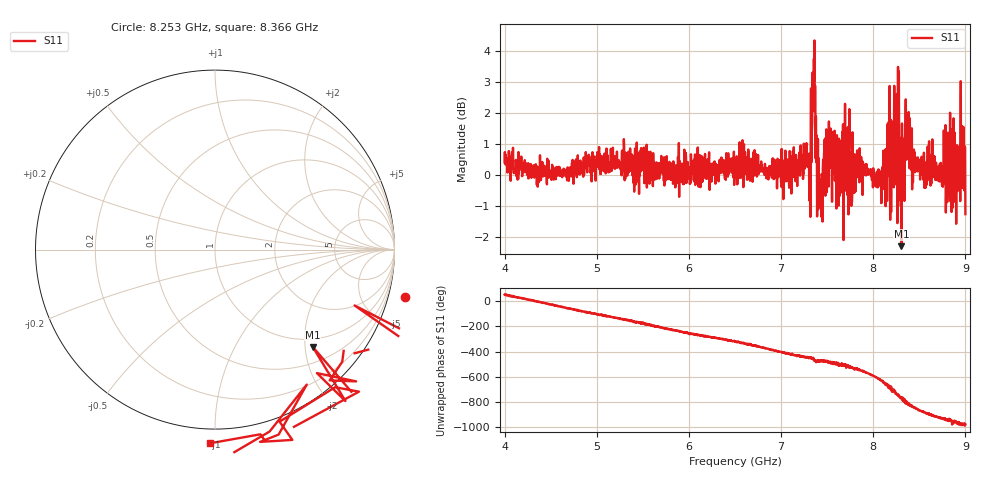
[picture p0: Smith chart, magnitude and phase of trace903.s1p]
! Created with skrf 1.8.0 (http://scikit-rf.org).
# Hz S RI R 50.0
!freq ReS11 ImS11
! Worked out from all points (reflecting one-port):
!   1601 points, 4 GHz to 9 GHz, reference 50 ohm
!   lowest |S11| = -2.3 dB at 8.306 GHz (marker M1), VSWR 7.66, Z = 40.8 - j108 ohm
!   phase of S11 starts at 52 deg and turns -1032 deg over the sweep
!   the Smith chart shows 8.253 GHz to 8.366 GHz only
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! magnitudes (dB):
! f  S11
! 4 GHz  0.4
! 4.625 GHz  -0.1
! 5.25 GHz  0.3
! 5.875 GHz  0.1
! 6.5 GHz  -0.1
! 7.125 GHz  0.2
! 7.294 GHz  0.5
! 7.312 GHz  0.5
! 7.347 GHz  3.1
! 7.362 GHz  4.3
! 7.397 GHz  -1.0
! 7.416 GHz  -1.0
! 7.525 GHz  1.4
! 7.609 GHz  0.5
! 7.669 GHz  0.5
! 7.75 GHz  0.3
! 7.784 GHz  -0.5
! 7.844 GHz  0.5
! 8.066 GHz  0.2
! 8.253 GHz  0.7
! 8.306 GHz  -2.3
! 8.375 GHz  1.4
! 8.428 GHz  0.5
! 8.562 GHz  -0.4
! 8.822 GHz  0.9
! 8.875 GHz  1.0
! 8.972 GHz  0.5
! 9 GHz  -1.3
